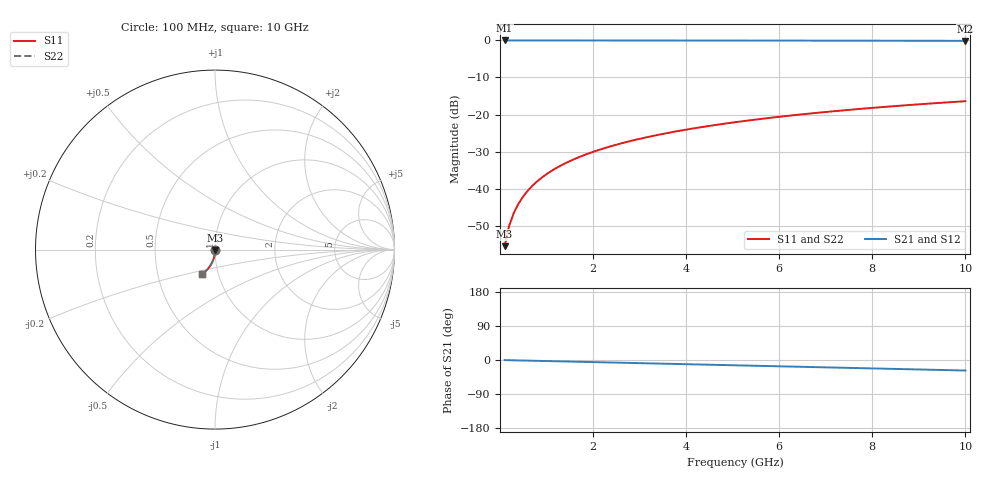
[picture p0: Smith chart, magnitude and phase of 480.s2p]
# Hz S RI R 50.00
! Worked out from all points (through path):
!   100 points, 100 MHz to 10 GHz, reference 50 ohm
!   highest |S21| = -0.01 dB at 100 MHz (marker M1); lowest = -0.1 dB at 10 GHz (marker M2)
!   group delay of S21, straight-line fit = 7.72 ps
!   lowest |S11| = -55.5 dB at 100 MHz (marker M3), VSWR 1.00, Z = 50.1 - j0.157 ohm
!   |S11| at or under -10 dB: start of sweep to end of sweep
!   |S22| runs from -55.5 to -16.4 dB; largest |S21 - S12| = 0
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1e8  0.000581 -0.00157  0.9994 -0.00482  0.9994 -0.00482  0.000581 -0.00157
2e8  0.000559 -0.00314  0.9993 -0.00964  0.9993 -0.00964  0.000559 -0.00314
3e8  0.000521 -0.0047  0.9993 -0.0145  0.9993 -0.0145  0.000521 -0.0047
4e8  0.000468 -0.00627  0.9992 -0.0193  0.9992 -0.0193  0.000468 -0.00627
5e8  0.000399 -0.00784  0.9991 -0.0241  0.9991 -0.0241  0.000399 -0.00784
6e8  0.000315 -0.00941  0.9989 -0.0289  0.9989 -0.0289  0.000315 -0.00941
7e8  0.000215 -0.011  0.9987 -0.0337  0.9987 -0.0337  0.000215 -0.011
8e8  0.0001 -0.0125  0.9985 -0.0386  0.9985 -0.0386  0.0001 -0.0125
9e8  -3.01e-05 -0.0141  0.9983 -0.0434  0.9983 -0.0434  -3.01e-05 -0.0141
1.1e9  -0.000336 -0.0172  0.9978 -0.053  0.9978 -0.053  -0.000336 -0.0172
1.4e9  -0.000908 -0.0219  0.9968 -0.0674  0.9968 -0.0674  -0.000908 -0.0219
1.8e9  -0.00188 -0.0281  0.9952 -0.0867  0.9952 -0.0867  -0.00188 -0.0281
2.1e9  -0.00277 -0.0328  0.9936 -0.1011  0.9936 -0.1011  -0.00277 -0.0328
2.5e9  -0.00417 -0.0389  0.9913 -0.1203  0.9913 -0.1203  -0.00417 -0.0389
2.9e9  -0.0058 -0.045  0.9885 -0.1394  0.9885 -0.1394  -0.0058 -0.045
3.4e9  -0.00818 -0.0526  0.9844 -0.1632  0.9844 -0.1632  -0.00818 -0.0526
4.2e9  -0.0127 -0.0644  0.9766 -0.2011  0.9766 -0.2011  -0.0127 -0.0644
5.1e9  -0.0189 -0.0772  0.9659 -0.2433  0.9659 -0.2433  -0.0189 -0.0772
5.9e9  -0.0254 -0.0881  0.9546 -0.2803  0.9546 -0.2803  -0.0254 -0.0881
6.7e9  -0.0326 -0.0985  0.9419 -0.3168  0.9419 -0.3168  -0.0326 -0.0985
8.4e9  -0.0506 -0.1184  0.9098 -0.3922  0.9098 -0.3922  -0.0506 -0.1184
1e10  -0.0702 -0.1341  0.8738 -0.46  0.8738 -0.46  -0.0702 -0.1341
